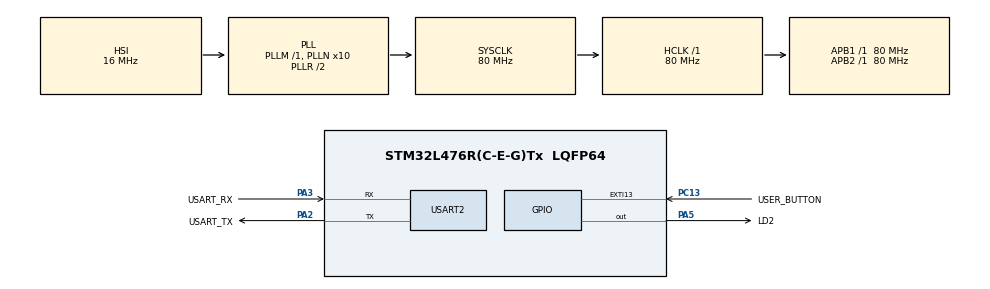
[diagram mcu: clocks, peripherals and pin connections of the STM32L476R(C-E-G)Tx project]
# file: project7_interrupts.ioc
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Mcu.Family=STM32L4
Mcu.Name=STM32L476R(C-E-G)Tx
Mcu.Package=LQFP64
NVIC.EXTI15_10_IRQn=true\:8\:0\:true\:false\:true\:true\:true\:true
NVIC.PriorityGroup=NVIC_PRIORITYGROUP_4
NVIC.USART2_IRQn=true\:12\:0\:true\:false\:true\:true\:true\:true
PA13\ (JTMS-SWDIO).GPIO_Label=TMS
PA13\ (JTMS-SWDIO).Mode=Serial_Wire
PA13\ (JTMS-SWDIO).Signal=SYS_JTMS-SWDIO
PA14\ (JTCK-SWCLK).GPIO_Label=TCK
PA14\ (JTCK-SWCLK).Mode=Serial_Wire
PA14\ (JTCK-SWCLK).Signal=SYS_JTCK-SWCLK
PA2.GPIO_Label=USART_TX
PA2.GPIO_Mode=GPIO_MODE_AF_PP
PA2.GPIO_PuPd=GPIO_NOPULL
PA2.GPIO_Speed=GPIO_SPEED_FREQ_VERY_HIGH
PA2.Mode=Asynchronous
PA2.Signal=USART2_TX
PA3.GPIO_Label=USART_RX
PA3.GPIO_Mode=GPIO_MODE_AF_PP
PA3.GPIO_PuPd=GPIO_NOPULL
PA3.GPIO_Speed=GPIO_SPEED_FREQ_VERY_HIGH
PA3.Mode=Asynchronous
PA3.Signal=USART2_RX
PA5.GPIO_Label=LD2
PA5.GPIO_ModeDefaultOutputPP=GPIO_MODE_OUTPUT_PP
PA5.GPIO_PuPd=GPIO_NOPULL
PA5.GPIO_Speed=GPIO_SPEED_FREQ_LOW
PA5.Signal=GPIO_Output
PB3\ (JTDO-TRACESWO).GPIO_Label=SWO
PB3\ (JTDO-TRACESWO).Signal=SYS_JTDO-SWO
PC13.GPIO_Label=USER_BUTTON
PC13.GPIO_ModeDefaultEXTI=GPIO_MODE_IT_FALLING
PC13.GPIO_PuPd=GPIO_NOPULL
PC13.Signal=GPXTI13
PC14-OSC32_IN\ (PC14).Mode=LSE-External-Oscillator
PC14-OSC32_IN\ (PC14).Signal=RCC_OSC32_IN
PC15-OSC32_OUT\ (PC15).Mode=LSE-External-Oscillator
PC15-OSC32_OUT\ (PC15).Signal=RCC_OSC32_OUT
PH0-OSC_IN\ (PH0).Signal=RCC_OSC_IN
PH1-OSC_OUT\ (PH1).Signal=RCC_OSC_OUT
ProjectManager.HeapSize=0x200
ProjectManager.StackSize=0x400
ProjectManager.TargetToolchain=STM32CubeIDE
RCC.ADCFreq_Value=64000000
RCC.AHBFreq_Value=80000000
RCC.APB1Freq_Value=80000000
RCC.APB1TimFreq_Value=80000000
RCC.APB2Freq_Value=80000000
RCC.APB2TimFreq_Value=80000000
RCC.CortexFreq_Value=80000000
RCC.HCLKFreq_Value=80000000
RCC.HSE_VALUE=8000000
RCC.HSI_VALUE=16000000
RCC.MSI_VALUE=4000000
RCC.PLLN=10
RCC.PLLSourceVirtual=RCC_PLLSOURCE_HSI
RCC.PREFETCH_ENABLE=1
RCC.SYSCLKFreq_VALUE=80000000
RCC.SYSCLKSource=RCC_SYSCLKSOURCE_PLLCLK
RCC.USBFreq_Value=64000000
RCC.VCOOutputFreq_Value=160000000
USART2.VirtualMode-Asynchronous=VM_ASYNC
board=NUCLEO-L476RG

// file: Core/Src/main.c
/* USER CODE BEGIN Header */
/**
  ******************************************************************************
  * @file           : main.c
  * @brief          : Main program body
  ******************************************************************************
  * @attention
  *
  * Copyright (c) 2024 STMicroelectronics.
  * All rights reserved.
  *
  * This software is licensed under terms that can be found in the LICENSE file
  * in the root directory of this software component.
  * If no LICENSE file comes with this software, it is provided AS-IS.
  *
  ******************************************************************************
  */
/* USER CODE END Header */
#include "main.h"

/* USER CODE BEGIN Includes */
#include <stdio.h>
#include <string.h>
/* USER CODE END Includes */

/* USER CODE BEGIN PTD */
typedef enum {
  MESSAGE_1,
  MESSAGE_2,
  DONE
}sender_state;
/* USER CODE END PTD */

UART_HandleTypeDef huart2;

/* USER CODE BEGIN PV */

int __io_putchar(int ch)
{
  if (ch == '\n') {
    __io_putchar('\r');
  }

  HAL_UART_Transmit(&huart2, (uint8_t*)&ch, 1, HAL_MAX_DELAY);

  return 1;
}
/* USER CODE END PV */

void SystemClock_Config(void);
static void MX_GPIO_Init(void);
static void MX_USART2_UART_Init(void);

/* USER CODE BEGIN 0 */

volatile uint32_t push_counter;

void HAL_GPIO_EXTI_Callback(uint16_t GPIO_Pin)
{
  if (GPIO_Pin == USER_BUTTON_Pin) {
    push_counter++;
    printf("counter = %lu\n", push_counter);

    HAL_Delay(100);
  }
}

#define LINE_MAX_LENGTH 80

static char line_buffer[LINE_MAX_LENGTH + 1];
static uint32_t line_length;

void line_append(uint8_t value)
{
  if (value == '\r' || value == '\n') {
    // odebraliśmy znak końca linii
    if (line_length > 0) {
      // dodajemy 0 na końcu linii
      line_buffer[line_length] = '\0';
      // przetwarzamy dane
      if (strcmp(line_buffer, "on") == 0) {
        HAL_GPIO_WritePin(LD2_GPIO_Port, LD2_Pin, GPIO_PIN_SET);
      } else if (strcmp(line_buffer, "off") == 0) {
        HAL_GPIO_WritePin(LD2_GPIO_Port, LD2_Pin, GPIO_PIN_RESET);
      }

      // zaczynamy zbieranie danych od nowa
      line_length = 0;
    }
  }
  else {
    if (line_length >= LINE_MAX_LENGTH) {
      // za dużo danych, usuwamy wszystko co odebraliśmy dotychczas
      line_length = 0;
    }
    // dopisujemy wartość do bufora
    line_buffer[line_length++] = value;
  }
}

sender_state message_number = MESSAGE_1;

void send_next_message(void)
{
  static char message[] = "Hello World!\r\n";
  static char message2[] = "Forbot jest super!\r\n";

  switch (message_number)
  {
  case MESSAGE_1:
    HAL_UART_Transmit_IT(&huart2, (uint8_t*)message, strlen(message));
    message_number = MESSAGE_2;
    break;
  case MESSAGE_2:
    HAL_UART_Transmit_IT(&huart2, (uint8_t*)message2, strlen(message2));
    message_number = DONE;
    break;
  default:
    break;
  }

}

uint8_t uart_rx_buffer;

void HAL_UART_RxCpltCallback(UART_HandleTypeDef *huart)
{
  if (huart == &huart2) {
    line_append(uart_rx_buffer);
    HAL_UART_Receive_IT(&huart2, &uart_rx_buffer, 1);
  }
}

void HAL_UART_TxCpltCallback(UART_HandleTypeDef *huart)
{
  if (huart == &huart2) {
    send_next_message();
  }
}
/* USER CODE END 0 */

int main(void)
{

  /* MCU Configuration--------------------------------------------------------*/

  /* Reset of all peripherals, Initializes the Flash interface and the Systick. */
  HAL_Init();

  /* Configure the system clock */
  SystemClock_Config();

  /* Initialize all configured peripherals */
  MX_GPIO_Init();
  MX_USART2_UART_Init();
  /* USER CODE BEGIN 2 */

  send_next_message();
  /* USER CODE END 2 */

  /* Infinite loop */
  /* USER CODE BEGIN WHILE */
  HAL_UART_Receive_IT(&huart2, &uart_rx_buffer, 1);
  while (1)
   {

    /* USER CODE END WHILE */

  }
}

void SystemClock_Config(void)
{
  RCC_OscInitTypeDef RCC_OscInitStruct = {0};
  RCC_ClkInitTypeDef RCC_ClkInitStruct = {0};

  /** Configure the main internal regulator output voltage
  */
  if (HAL_PWREx_ControlVoltageScaling(PWR_REGULATOR_VOLTAGE_SCALE1) != HAL_OK)
  {
    Error_Handler();
  }

  /** Initializes the RCC Oscillators according to the specified parameters
  * in the RCC_OscInitTypeDef structure.
  */
  RCC_OscInitStruct.OscillatorType = RCC_OSCILLATORTYPE_HSI;
  RCC_OscInitStruct.HSIState = RCC_HSI_ON;
  RCC_OscInitStruct.HSICalibrationValue = RCC_HSICALIBRATION_DEFAULT;
  RCC_OscInitStruct.PLL.PLLState = RCC_PLL_ON;
  RCC_OscInitStruct.PLL.PLLSource = RCC_PLLSOURCE_HSI;
  RCC_OscInitStruct.PLL.PLLM = 1;
  RCC_OscInitStruct.PLL.PLLN = 10;
  RCC_OscInitStruct.PLL.PLLP = RCC_PLLP_DIV7;
  RCC_OscInitStruct.PLL.PLLQ = RCC_PLLQ_DIV2;
  RCC_OscInitStruct.PLL.PLLR = RCC_PLLR_DIV2;
  if (HAL_RCC_OscConfig(&RCC_OscInitStruct) != HAL_OK)
  {
    Error_Handler();
  }

  /** Initializes the CPU, AHB and APB buses clocks
  */
  RCC_ClkInitStruct.ClockType = RCC_CLOCKTYPE_HCLK|RCC_CLOCKTYPE_SYSCLK
                              |RCC_CLOCKTYPE_PCLK1|RCC_CLOCKTYPE_PCLK2;
  RCC_ClkInitStruct.SYSCLKSource = RCC_SYSCLKSOURCE_PLLCLK;
  RCC_ClkInitStruct.AHBCLKDivider = RCC_SYSCLK_DIV1;
  RCC_ClkInitStruct.APB1CLKDivider = RCC_HCLK_DIV1;
  RCC_ClkInitStruct.APB2CLKDivider = RCC_HCLK_DIV1;

  if (HAL_RCC_ClockConfig(&RCC_ClkInitStruct, FLASH_LATENCY_4) != HAL_OK)
  {
    Error_Handler();
  }
}

static void MX_USART2_UART_Init(void)
{

  huart2.Instance = USART2;
  huart2.Init.BaudRate = 115200;
  huart2.Init.WordLength = UART_WORDLENGTH_8B;
  huart2.Init.StopBits = UART_STOPBITS_1;
  huart2.Init.Parity = UART_PARITY_NONE;
  huart2.Init.Mode = UART_MODE_TX_RX;
  huart2.Init.HwFlowCtl = UART_HWCONTROL_NONE;
  huart2.Init.OverSampling = UART_OVERSAMPLING_16;
  huart2.Init.OneBitSampling = UART_ONE_BIT_SAMPLE_DISABLE;
  huart2.AdvancedInit.AdvFeatureInit = UART_ADVFEATURE_NO_INIT;
  if (HAL_UART_Init(&huart2) != HAL_OK)
  {
    Error_Handler();
  }

}

static void MX_GPIO_Init(void)
{
  GPIO_InitTypeDef GPIO_InitStruct = {0};

  /* GPIO Ports Clock Enable */
  __HAL_RCC_GPIOC_CLK_ENABLE();
  __HAL_RCC_GPIOH_CLK_ENABLE();
  __HAL_RCC_GPIOA_CLK_ENABLE();
  __HAL_RCC_GPIOB_CLK_ENABLE();

  /*Configure GPIO pin Output Level */
  HAL_GPIO_WritePin(LD2_GPIO_Port, LD2_Pin, GPIO_PIN_RESET);

  /*Configure GPIO pin : USER_BUTTON_Pin */
  GPIO_InitStruct.Pin = USER_BUTTON_Pin;
  GPIO_InitStruct.Mode = GPIO_MODE_IT_FALLING;
  GPIO_InitStruct.Pull = GPIO_NOPULL;
  HAL_GPIO_Init(USER_BUTTON_GPIO_Port, &GPIO_InitStruct);

  /*Configure GPIO pin : LD2_Pin */
  GPIO_InitStruct.Pin = LD2_Pin;
  GPIO_InitStruct.Mode = GPIO_MODE_OUTPUT_PP;
  GPIO_InitStruct.Pull = GPIO_NOPULL;
  GPIO_InitStruct.Speed = GPIO_SPEED_FREQ_LOW;
  HAL_GPIO_Init(LD2_GPIO_Port, &GPIO_InitStruct);

  /* EXTI interrupt init*/
  HAL_NVIC_SetPriority(EXTI15_10_IRQn, 8, 0);
  HAL_NVIC_EnableIRQ(EXTI15_10_IRQn);

}

void Error_Handler(void)
{
  __disable_irq();
  while (1)
  {
  }
}
